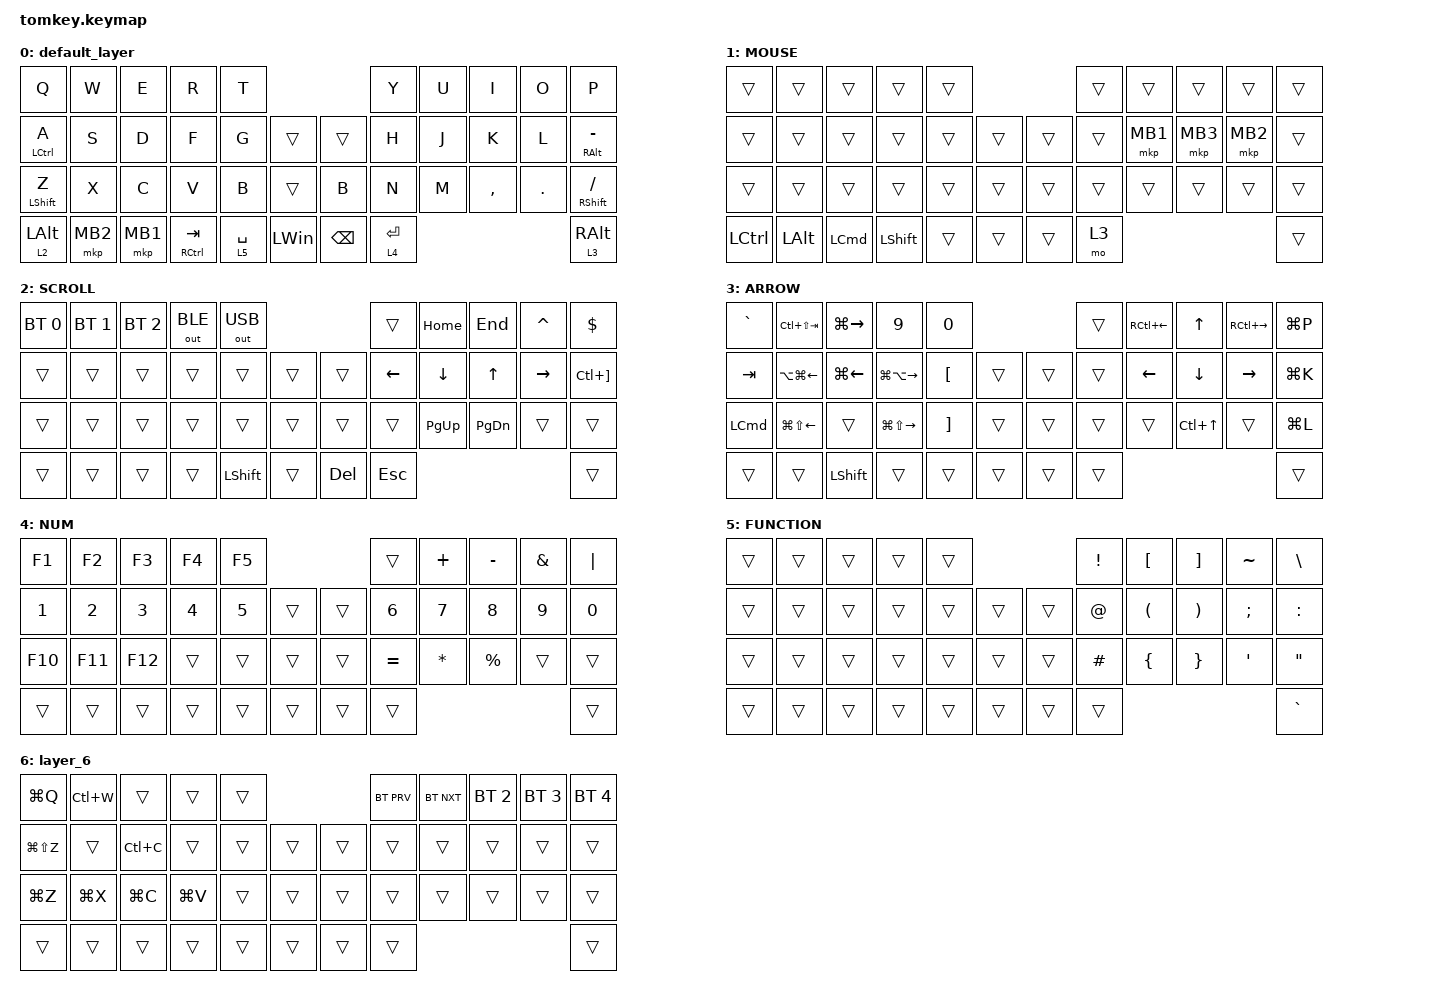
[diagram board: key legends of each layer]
#include <behaviors.dtsi>
#include <dt-bindings/zmk/bt.h>
#include <dt-bindings/zmk/keys.h>
#include <dt-bindings/zmk/outputs.h>
#include <dt-bindings/zmk/pointing.h>

&mt { flavor = "tap-preferred"; };

/ {
    keymap {
        compatible = "zmk,keymap";

        default_layer {
            bindings = <
&kp Q               &kp W     &kp E     &kp R                  &kp T                                         &kp Y        &kp U  &kp I      &kp O    &kp P
&mt LEFT_CONTROL A  &kp S     &kp D     &kp F                  &kp G        &trans            &trans         &kp H        &kp J  &kp K      &kp L    &mt RIGHT_ALT MINUS
&mt LSHIFT Z        &kp X     &kp C     &kp V                  &kp B        &trans            &kp B          &kp N        &kp M  &kp COMMA  &kp DOT  &mt RSHIFT SLASH
&lt 2 LEFT_ALT      &mkp MB2  &mkp MB1  &mt RIGHT_CONTROL TAB  &lt 5 SPACE  &kp LEFT_WIN      &kp BACKSPACE  &lt 4 ENTER                             &lt 3 RIGHT_ALT
            >;
        };

        MOUSE {
            bindings = <
&trans     &trans        &trans            &trans          &trans                      &trans  &trans    &trans    &trans    &trans
&trans     &trans        &trans            &trans          &trans  &trans      &trans  &trans  &mkp MB1  &mkp MB3  &mkp MB2  &trans
&trans     &trans        &trans            &trans          &trans  &trans      &trans  &trans  &trans    &trans    &trans    &trans
&kp LCTRL  &kp LEFT_ALT  &kp LEFT_COMMAND  &kp LEFT_SHIFT  &trans  &trans      &trans  &mo 3                                 &trans
            >;
        };

        SCROLL {
            bindings = <
&bt BT_SEL 0  &bt BT_SEL 1  &bt BT_SEL 2  &out OUT_BLE  &out OUT_USB                       &trans    &kp HOME     &kp END        &kp CARET  &kp DOLLAR
&trans        &trans        &trans        &trans        &trans        &trans      &trans   &kp LEFT  &kp DOWN     &kp UP         &kp RIGHT  &kp LC(RIGHT_BRACKET)
&trans        &trans        &trans        &trans        &trans        &trans      &trans   &trans    &kp PAGE_UP  &kp PAGE_DOWN  &trans     &trans
&trans        &trans        &trans        &trans        &kp LSHFT     &trans      &kp DEL  &kp ESC                                          &trans
            >;
        };

        ARROW {
            bindings = <
&kp GRAVE  &kp LC(LS(TAB))         &kp LG(RIGHT)   &kp NUMBER_9             &kp NUMBER_0                           &trans  &kp RC(LEFT_ARROW)  &kp UP_ARROW      &kp RC(RIGHT_ARROW)  &kp LG(P)
&kp TAB    &kp LA(LG(LEFT_ARROW))  &kp LG(LEFT)    &kp LG(LA(RIGHT_ARROW))  &kp LEFT_BRACKET   &trans      &trans  &trans  &kp LEFT_ARROW      &kp DOWN_ARROW    &kp RIGHT_ARROW      &kp LG(K)
&kp LCMD   &kp LG(LS(LEFT_ARROW))  &trans          &kp LG(LS(RIGHT_ARROW))  &kp RIGHT_BRACKET  &trans      &trans  &trans  &trans              &kp LC(UP_ARROW)  &trans               &kp LG(L)
&trans     &trans                  &kp LEFT_SHIFT  &trans                   &trans             &trans      &trans  &trans                                                             &trans
            >;
        };

        NUM {
            bindings = <
&kp F1        &kp F2        &kp F3        &kp F4        &kp F5                            &trans        &kp PLUS      &kp MINUS     &kp AMPS      &kp PIPE
&kp NUMBER_1  &kp NUMBER_2  &kp NUMBER_3  &kp NUMBER_4  &kp NUMBER_5  &trans      &trans  &kp NUMBER_6  &kp NUMBER_7  &kp NUMBER_8  &kp NUMBER_9  &kp NUMBER_0
&kp F10       &kp F11       &kp F12       &trans        &trans        &trans      &trans  &kp EQUAL     &kp ASTERISK  &kp PERCENT   &trans        &trans
&trans        &trans        &trans        &trans        &trans        &trans      &trans  &trans                                                  &trans
            >;
        };

        FUNCTION {
            bindings = <
&trans  &trans  &trans  &trans  &trans                      &kp EXCL   &kp LBKT              &kp RBKT               &kp TILDE  &kp BACKSLASH
&trans  &trans  &trans  &trans  &trans  &trans      &trans  &kp AT     &kp LEFT_PARENTHESIS  &kp RIGHT_PARENTHESIS  &kp SEMI   &kp COLON
&trans  &trans  &trans  &trans  &trans  &trans      &trans  &kp POUND  &kp LBRC              &kp RBRC               &kp SQT    &kp DQT
&trans  &trans  &trans  &trans  &trans  &trans      &trans  &trans                                                             &kp GRAVE
            >;
        };

        layer_6 {
            bindings = <
&kp LG(Q)      &kp LC(W)  &trans     &trans     &trans                      &bt BT_PRV  &bt BT_NXT  &bt BT_SEL 2  &bt BT_SEL 3  &bt BT_SEL 4
&kp LG(LS(Z))  &trans     &kp LC(C)  &trans     &trans  &trans      &trans  &trans      &trans      &trans        &trans        &trans
&kp LG(Z)      &kp LG(X)  &kp LG(C)  &kp LG(V)  &trans  &trans      &trans  &trans      &trans      &trans        &trans        &trans
&trans         &trans     &trans     &trans     &trans  &trans      &trans  &trans                                              &trans
            >;
        };
    };
};
